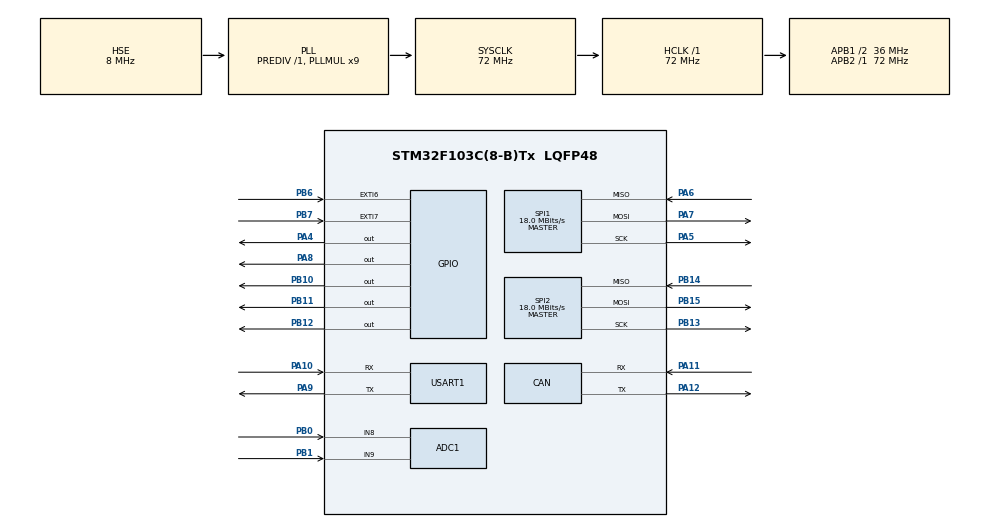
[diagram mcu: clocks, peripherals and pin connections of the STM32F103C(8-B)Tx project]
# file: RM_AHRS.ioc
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ADC1.Channel-0\#ChannelRegularConversion=ADC_CHANNEL_8
ADC1.ContinuousConvMode=DISABLE
ADC1.DataAlign=ADC_DATAALIGN_RIGHT
ADC1.DiscontinuousConvMode=DISABLE
ADC1.EnableAnalogWatchDog=false
ADC1.EnableRegularConversion=ENABLE
ADC1.ExternalTrigConv=ADC_SOFTWARE_START
ADC1.InjNumberOfConversion=0
ADC1.NbrOfConversion=1
ADC1.NbrOfConversionFlag=1
ADC1.Rank-0\#ChannelRegularConversion=1
ADC1.SamplingTime-0\#ChannelRegularConversion=ADC_SAMPLETIME_1CYCLE_5
ADC1.ScanConvMode=ADC_SCAN_DISABLE
ADC1.master=1
CAN.CalculateTimeBit=1333
CAN.CalculateTimeQuantum=444.44444444444446
Dma.Request0=USART1_TX
Dma.Request1=SPI1_TX
Dma.SPI1_TX.1.Direction=DMA_MEMORY_TO_PERIPH
Dma.SPI1_TX.1.Instance=DMA1_Channel3
Dma.SPI1_TX.1.MemDataAlignment=DMA_MDATAALIGN_BYTE
Dma.SPI1_TX.1.MemInc=DMA_MINC_ENABLE
Dma.SPI1_TX.1.Mode=DMA_NORMAL
Dma.SPI1_TX.1.PeriphDataAlignment=DMA_PDATAALIGN_BYTE
Dma.SPI1_TX.1.PeriphInc=DMA_PINC_DISABLE
Dma.SPI1_TX.1.Priority=DMA_PRIORITY_LOW
Dma.USART1_TX.0.Direction=DMA_MEMORY_TO_PERIPH
Dma.USART1_TX.0.Instance=DMA1_Channel4
Dma.USART1_TX.0.MemDataAlignment=DMA_MDATAALIGN_BYTE
Dma.USART1_TX.0.MemInc=DMA_MINC_ENABLE
Dma.USART1_TX.0.Mode=DMA_NORMAL
Dma.USART1_TX.0.PeriphDataAlignment=DMA_PDATAALIGN_BYTE
Dma.USART1_TX.0.PeriphInc=DMA_PINC_DISABLE
Dma.USART1_TX.0.Priority=DMA_PRIORITY_LOW
FREERTOS.Tasks01=defaultTask,0,128,StartDefaultTask,Default,NULL
FREERTOS.configCHECK_FOR_STACK_OVERFLOW=1
FREERTOS.configUSE_IDLE_HOOK=1
FREERTOS.configUSE_MALLOC_FAILED_HOOK=1
FREERTOS.configUSE_TICK_HOOK=1
FREERTOS.configUSE_TIMERS=1
Mcu.Family=STM32F1
Mcu.Name=STM32F103C(8-B)Tx
Mcu.Package=LQFP48
NVIC.CAN1_RX1_IRQn=true\:5\:0\:false\:false\:true\:true\:true
NVIC.DMA1_Channel3_IRQn=true\:5\:0\:false\:false\:true\:true\:false
NVIC.DMA1_Channel4_IRQn=true\:5\:0\:false\:false\:true\:true\:false
NVIC.PriorityGroup=NVIC_PRIORITYGROUP_4
NVIC.TIM1_UP_IRQn=true\:5\:0\:false\:false\:true\:true\:true
NVIC.TIM2_IRQn=true\:5\:0\:false\:false\:true\:true\:true
NVIC.TIM3_IRQn=true\:0\:0\:false\:false\:true\:false\:false
NVIC.TimeBase=TIM3_IRQn
NVIC.TimeBaseIP=TIM3
NVIC.USART1_IRQn=true\:5\:0\:false\:false\:true\:true\:true
NVIC.USB_LP_CAN1_RX0_IRQn=true\:5\:0\:false\:false\:true\:true\:true
PA10.Mode=Asynchronous
PA10.Signal=USART1_RX
PA11.Mode=Master
PA11.Signal=CAN_RX
PA12.Mode=Master
PA12.Signal=CAN_TX
PA13.Mode=Serial_Wire
PA13.Signal=SYS_JTMS-SWDIO
PA14.Mode=Serial_Wire
PA14.Signal=SYS_JTCK-SWCLK
PA4.Signal=GPIO_Output
PA5.Mode=Full_Duplex_Master
PA5.Signal=SPI1_SCK
PA6.Mode=Full_Duplex_Master
PA6.Signal=SPI1_MISO
PA7.Mode=Full_Duplex_Master
PA7.Signal=SPI1_MOSI
PA8.Signal=GPIO_Output
PA9.Mode=Asynchronous
PA9.Signal=USART1_TX
PB0.Signal=ADCx_IN8
PB1.Signal=ADCx_IN9
PB10.Signal=GPIO_Output
PB11.Signal=GPIO_Output
PB12.Signal=GPIO_Output
PB13.Mode=Full_Duplex_Master
PB13.Signal=SPI2_SCK
PB14.Mode=Full_Duplex_Master
PB14.Signal=SPI2_MISO
PB15.Mode=Full_Duplex_Master
PB15.Signal=SPI2_MOSI
PB6.Signal=GPXTI6
PB7.Signal=GPXTI7
PD0-OSC_IN.Mode=HSE-External-Oscillator
PD0-OSC_IN.Signal=RCC_OSC_IN
PD1-OSC_OUT.Mode=HSE-External-Oscillator
PD1-OSC_OUT.Signal=RCC_OSC_OUT
ProjectManager.HeapSize=0x200
ProjectManager.StackSize=0x400
ProjectManager.TargetToolchain=MDK-ARM V5
RCC.ADCPresc=RCC_ADCPCLK2_DIV6
RCC.AHBFreq_Value=72000000
RCC.APB1CLKDivider=RCC_HCLK_DIV2
RCC.APB1Freq_Value=36000000
RCC.APB1TimFreq_Value=72000000
RCC.APB2Freq_Value=72000000
RCC.APB2TimFreq_Value=72000000
RCC.HCLKFreq_Value=72000000
RCC.PLLMUL=RCC_PLL_MUL9
RCC.PLLSourceVirtual=RCC_PLLSOURCE_HSE
RCC.SYSCLKFreq_VALUE=72000000
RCC.SYSCLKSource=RCC_SYSCLKSOURCE_PLLCLK
RCC.USBFreq_Value=72000000
SH.ADCx_IN8.0=ADC1_IN8,IN8
SH.ADCx_IN9.0=ADC1_IN9,IN9
SPI1.BaudRatePrescaler=SPI_BAUDRATEPRESCALER_4
SPI1.CalculateBaudRate=18.0 MBits/s
SPI1.Direction=SPI_DIRECTION_2LINES
SPI1.Mode=SPI_MODE_MASTER
SPI1.VirtualType=VM_MASTER
SPI2.CalculateBaudRate=18.0 MBits/s
SPI2.Direction=SPI_DIRECTION_2LINES
SPI2.Mode=SPI_MODE_MASTER
SPI2.VirtualType=VM_MASTER
USART1.VirtualMode=VM_ASYNC
VP_CRC_VS_CRC.Mode=CRC_Activate
VP_FREERTOS_VS_ENABLE.Mode=Enabled
VP_SYS_VS_tim3.Mode=TIM3
VP_TIM1_VS_ClockSourceINT.Mode=Internal
VP_TIM2_VS_ClockSourceINT.Mode=Internal
board=RM_AHRS

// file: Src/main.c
/**
  ******************************************************************************
  * @file           : main.c
  * @brief          : Main program body
  ******************************************************************************
  * This notice applies to any and all portions of this file
  * that are not between comment pairs USER CODE BEGIN and
  * USER CODE END. Other portions of this file, whether
  * inserted by the user or by software development tools
  * are owned by their respective copyright owners.
  *
  * Copyright (c) 2018 STMicroelectronics International N.V.
  * All rights reserved.
  *
  * Redistribution and use in source and binary forms, with or without
  * modification, are permitted, provided that the following conditions are met:
  *
  * 1. Redistribution of source code must retain the above copyright notice,
  *    this list of conditions and the following disclaimer.
  * 2. Redistributions in binary form must reproduce the above copyright notice,
  *    this list of conditions and the following disclaimer in the documentation
  *    and/or other materials provided with the distribution.
  * 3. Neither the name of STMicroelectronics nor the names of other
  *    contributors to this software may be used to endorse or promote products
  *    derived from this software without specific written permission.
  * 4. This software, including modifications and/or derivative works of this
  *    software, must execute solely and exclusively on microcontroller or
  *    microprocessor devices manufactured by or for STMicroelectronics.
  * 5. Redistribution and use of this software other than as permitted under
  *    this license is void and will automatically terminate your rights under
  *    this license.
  *
  * THIS SOFTWARE IS PROVIDED BY STMICROELECTRONICS AND CONTRIBUTORS "AS IS"
  * AND ANY EXPRESS, IMPLIED OR STATUTORY WARRANTIES, INCLUDING, BUT NOT
  * LIMITED TO, THE IMPLIED WARRANTIES OF MERCHANTABILITY, FITNESS FOR A
  * PARTICULAR PURPOSE AND NON-INFRINGEMENT OF THIRD PARTY INTELLECTUAL PROPERTY
  * RIGHTS ARE DISCLAIMED TO THE FULLEST EXTENT PERMITTED BY LAW. IN NO EVENT
  * SHALL STMICROELECTRONICS OR CONTRIBUTORS BE LIABLE FOR ANY DIRECT, INDIRECT,
  * INCIDENTAL, SPECIAL, EXEMPLARY, OR CONSEQUENTIAL DAMAGES (INCLUDING, BUT NOT
  * LIMITED TO, PROCUREMENT OF SUBSTITUTE GOODS OR SERVICES; LOSS OF USE, DATA,
  * OR PROFITS; OR BUSINESS INTERRUPTION) HOWEVER CAUSED AND ON ANY THEORY OF
  * LIABILITY, WHETHER IN CONTRACT, STRICT LIABILITY, OR TORT (INCLUDING
  * NEGLIGENCE OR OTHERWISE) ARISING IN ANY WAY OUT OF THE USE OF THIS SOFTWARE,
  * EVEN IF ADVISED OF THE POSSIBILITY OF SUCH DAMAGE.
  *
  ******************************************************************************
  */
#include "main.h"
#include "stm32f1xx_hal.h"
#include "cmsis_os.h"
#include "adc.h"
#include "can.h"
#include "crc.h"
#include "dma.h"
#include "spi.h"
#include "tim.h"
#include "usart.h"
#include "gpio.h"
#include "ahrs.h"

/* USER CODE BEGIN PV */
/* Private variables ---------------------------------------------------------*/

/* USER CODE END PV */

void SystemClock_Config(void);
void MX_FREERTOS_Init(void);

/* USER CODE BEGIN PFP */
/* Private function prototypes -----------------------------------------------*/

/* USER CODE END PFP */

int main(void)
{

  /* MCU Configuration----------------------------------------------------------*/

  /* Reset of all peripherals, Initializes the Flash interface and the Systick. */
  HAL_Init();

  /* Configure the system clock */
  SystemClock_Config();

  /* Initialize all configured peripherals */
  MX_GPIO_Init();
  MX_DMA_Init();
  MX_CAN_Init();
  MX_SPI1_Init();
  MX_USART1_UART_Init();
  MX_SPI2_Init();
  MX_ADC1_Init();
  MX_TIM2_Init();
  MX_TIM1_Init();
  MX_CRC_Init();
  /* USER CODE BEGIN 2 */

   printf("init procedure completed  \r\n");

    /* USER CODE END 2 */

  /* Call init function for freertos objects (in freertos.c) */
  MX_FREERTOS_Init();
   HAL_TIM_Base_Start_IT(&htim1);
   HAL_TIM_Base_Start(&htim2);

  /* Start scheduler */
  osKernelStart();

  /* We should never get here as control is now taken by the scheduler */

  /* Infinite loop */
  while (1)
  {

  }

}

void SystemClock_Config(void)
{

  RCC_OscInitTypeDef RCC_OscInitStruct;
  RCC_ClkInitTypeDef RCC_ClkInitStruct;
  RCC_PeriphCLKInitTypeDef PeriphClkInit;

    /**Initializes the CPU, AHB and APB busses clocks
    */
  RCC_OscInitStruct.OscillatorType = RCC_OSCILLATORTYPE_HSE;
  RCC_OscInitStruct.HSEState = RCC_HSE_ON;
  RCC_OscInitStruct.HSEPredivValue = RCC_HSE_PREDIV_DIV1;
  RCC_OscInitStruct.HSIState = RCC_HSI_ON;
  RCC_OscInitStruct.PLL.PLLState = RCC_PLL_ON;
  RCC_OscInitStruct.PLL.PLLSource = RCC_PLLSOURCE_HSE;
  RCC_OscInitStruct.PLL.PLLMUL = RCC_PLL_MUL9;
  if (HAL_RCC_OscConfig(&RCC_OscInitStruct) != HAL_OK)
  {
    _Error_Handler(__FILE__, __LINE__);
  }

    /**Initializes the CPU, AHB and APB busses clocks
    */
  RCC_ClkInitStruct.ClockType = RCC_CLOCKTYPE_HCLK|RCC_CLOCKTYPE_SYSCLK
                              |RCC_CLOCKTYPE_PCLK1|RCC_CLOCKTYPE_PCLK2;
  RCC_ClkInitStruct.SYSCLKSource = RCC_SYSCLKSOURCE_PLLCLK;
  RCC_ClkInitStruct.AHBCLKDivider = RCC_SYSCLK_DIV1;
  RCC_ClkInitStruct.APB1CLKDivider = RCC_HCLK_DIV2;
  RCC_ClkInitStruct.APB2CLKDivider = RCC_HCLK_DIV1;

  if (HAL_RCC_ClockConfig(&RCC_ClkInitStruct, FLASH_LATENCY_2) != HAL_OK)
  {
    _Error_Handler(__FILE__, __LINE__);
  }

  PeriphClkInit.PeriphClockSelection = RCC_PERIPHCLK_ADC;
  PeriphClkInit.AdcClockSelection = RCC_ADCPCLK2_DIV6;
  if (HAL_RCCEx_PeriphCLKConfig(&PeriphClkInit) != HAL_OK)
  {
    _Error_Handler(__FILE__, __LINE__);
  }

    /**Configure the Systick interrupt time
    */
  HAL_SYSTICK_Config(HAL_RCC_GetHCLKFreq()/1000);

    /**Configure the Systick
    */
  HAL_SYSTICK_CLKSourceConfig(SYSTICK_CLKSOURCE_HCLK);

  /* SysTick_IRQn interrupt configuration */
  HAL_NVIC_SetPriority(SysTick_IRQn, 15, 0);
}

void HAL_TIM_PeriodElapsedCallback(TIM_HandleTypeDef *htim)
{
  /* USER CODE BEGIN Callback 0 */
    static BaseType_t AhrsTaskWoken = pdFALSE;
  /* USER CODE END Callback 0 */
  if (htim->Instance == TIM3) {
    HAL_IncTick();
  }

  if(htim->Instance == TIM1)
  {
//      HAL_GPIO_TogglePin(GPIOB, GPIO_PIN_11);

      /* The event has occurred, use the semaphore to unblock the task so the task
      can process the event. */
      xSemaphoreGiveFromISR( ahrs_sem ,  &AhrsTaskWoken );
       portYIELD_FROM_ISR( AhrsTaskWoken );
  }
}

void _Error_Handler(char *file, int line)
{
  while(1)
  {
  }
}

/************************ (C) COPYRIGHT STMicroelectronics *****END OF FILE****/

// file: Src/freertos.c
/**
  ******************************************************************************
  * File Name          : freertos.c
  * Description        : Code for freertos applications
  ******************************************************************************
  * This notice applies to any and all portions of this file
  * that are not between comment pairs USER CODE BEGIN and
  * USER CODE END. Other portions of this file, whether
  * inserted by the user or by software development tools
  * are owned by their respective copyright owners.
  *
  * Copyright (c) 2018 STMicroelectronics International N.V.
  * All rights reserved.
  *
  * Redistribution and use in source and binary forms, with or without
  * modification, are permitted, provided that the following conditions are met:
  *
  * 1. Redistribution of source code must retain the above copyright notice,
  *    this list of conditions and the following disclaimer.
  * 2. Redistributions in binary form must reproduce the above copyright notice,
  *    this list of conditions and the following disclaimer in the documentation
  *    and/or other materials provided with the distribution.
  * 3. Neither the name of STMicroelectronics nor the names of other
  *    contributors to this software may be used to endorse or promote products
  *    derived from this software without specific written permission.
  * 4. This software, including modifications and/or derivative works of this
  *    software, must execute solely and exclusively on microcontroller or
  *    microprocessor devices manufactured by or for STMicroelectronics.
  * 5. Redistribution and use of this software other than as permitted under
  *    this license is void and will automatically terminate your rights under
  *    this license.
  *
  * THIS SOFTWARE IS PROVIDED BY STMICROELECTRONICS AND CONTRIBUTORS "AS IS"
  * AND ANY EXPRESS, IMPLIED OR STATUTORY WARRANTIES, INCLUDING, BUT NOT
  * LIMITED TO, THE IMPLIED WARRANTIES OF MERCHANTABILITY, FITNESS FOR A
  * PARTICULAR PURPOSE AND NON-INFRINGEMENT OF THIRD PARTY INTELLECTUAL PROPERTY
  * RIGHTS ARE DISCLAIMED TO THE FULLEST EXTENT PERMITTED BY LAW. IN NO EVENT
  * SHALL STMICROELECTRONICS OR CONTRIBUTORS BE LIABLE FOR ANY DIRECT, INDIRECT,
  * INCIDENTAL, SPECIAL, EXEMPLARY, OR CONSEQUENTIAL DAMAGES (INCLUDING, BUT NOT
  * LIMITED TO, PROCUREMENT OF SUBSTITUTE GOODS OR SERVICES; LOSS OF USE, DATA,
  * OR PROFITS; OR BUSINESS INTERRUPTION) HOWEVER CAUSED AND ON ANY THEORY OF
  * LIABILITY, WHETHER IN CONTRACT, STRICT LIABILITY, OR TORT (INCLUDING
  * NEGLIGENCE OR OTHERWISE) ARISING IN ANY WAY OUT OF THE USE OF THIS SOFTWARE,
  * EVEN IF ADVISED OF THE POSSIBILITY OF SUCH DAMAGE.
  *
  ******************************************************************************
  */

#include "FreeRTOS.h"
#include "task.h"
#include "cmsis_os.h"
#include "stm32f1xx_hal.h"
#include "spi.h"
#include "icm_20602.h"
#include "ahrs.h"
#include "uc_memory.h"

osThreadId defaultTaskHandle;

/* USER CODE BEGIN Variables */
uint64_t idle_counter, free_heap_size;

/* USER CODE END Variables */

void StartDefaultTask(void const * argument);

void MX_FREERTOS_Init(void); /* (MISRA C 2004 rule 8.1) */

/* Hook prototypes */
void vApplicationIdleHook(void);
void vApplicationTickHook(void);
void vApplicationStackOverflowHook(xTaskHandle xTask, signed char *pcTaskName);
void vApplicationMallocFailedHook(void);

/* USER CODE BEGIN 2 */
 void vApplicationIdleHook( void )
{
   /* vApplicationIdleHook() will only be called if configUSE_IDLE_HOOK is set
   to 1 in FreeRTOSConfig.h. It will be called on each iteration of the idle
   task. It is essential that code added to this hook function never attempts
   to block in any way (for example, call xQueueReceive() with a block time
   specified, or call vTaskDelay()). If the application makes use of the
   vTaskDelete() API function (as this demo application does) then it is also
   important that vApplicationIdleHook() is permitted to return to its calling
   function, because it is the responsibility of the idle task to clean up
   memory allocated by the kernel to any task that has since been deleted. */
     free_heap_size = xPortGetFreeHeapSize();

     idle_counter ++;
}
/* USER CODE END 2 */

/* USER CODE BEGIN 3 */
void vApplicationTickHook( void )
{
   /* This function will be called by each tick interrupt if
   configUSE_TICK_HOOK is set to 1 in FreeRTOSConfig.h. User code can be
   added here, but the tick hook is called from an interrupt context, so
   code must not attempt to block, and only the interrupt safe FreeRTOS API
   functions can be used (those that end in FromISR()). */
}
/* USER CODE END 3 */

/* USER CODE BEGIN 4 */
 void vApplicationStackOverflowHook(xTaskHandle xTask, signed char *pcTaskName)
{
   /* Run time stack overflow checking is performed if
   configCHECK_FOR_STACK_OVERFLOW is defined to 1 or 2. This hook function is
   called if a stack overflow is detected. */
     for(;;)
     {
         printf("fatal error :  Application Stack Overflow !!!\r\n");
     }
}
/* USER CODE END 4 */

/* USER CODE BEGIN 5 */
 void vApplicationMallocFailedHook(void)
{
   /* vApplicationMallocFailedHook() will only be called if
   configUSE_MALLOC_FAILED_HOOK is set to 1 in FreeRTOSConfig.h. It is a hook
   function that will get called if a call to pvPortMalloc() fails.
   pvPortMalloc() is called internally by the kernel whenever a task, queue,
   timer or semaphore is created. It is also called by various parts of the
   demo application. If heap_1.c or heap_2.c are used, then the size of the
   heap available to pvPortMalloc() is defined by configTOTAL_HEAP_SIZE in
   FreeRTOSConfig.h, and the xPortGetFreeHeapSize() API function can be used
   to query the size of free heap space that remains (although it does not
   provide information on how the remaining heap might be fragmented). */
     for(;;)
     {
         printf("fatal error :  Application Malloc Failed !!!\r\n");
     }
}
/* USER CODE END 5 */

/* Init FreeRTOS */

void MX_FREERTOS_Init(void) {

  /* Create the thread(s) */
  /* definition and creation of defaultTask */

    AhrsTaskCreate();

    osThreadDef(defaultTask, StartDefaultTask, 4, 0, 512);
  defaultTaskHandle = osThreadCreate(osThread(defaultTask), NULL);

  /* USER CODE BEGIN RTOS_THREADS */
  /* add threads, ... */
    if(HAL_GPIO_ReadPin(GPIOB, GPIO_PIN_0) == GPIO_PIN_SET)
        Can_ID |=0x02;
    if(HAL_GPIO_ReadPin(GPIOB, GPIO_PIN_1) == GPIO_PIN_SET)
        Can_ID |=0x01;
    // blink led to display the can id
    for(int n =0; Can_ID+1 > n; n++){
        HAL_GPIO_WritePin(GPIOB,GPIO_PIN_11, GPIO_PIN_RESET);
        HAL_Delay(500);
        HAL_GPIO_WritePin(GPIOB,GPIO_PIN_11, GPIO_PIN_SET);
        HAL_Delay(500);
    }
    Can_ID = 100 + Can_ID*10;
  initlize_icm();

  /* USER CODE END RTOS_THREADS */

}

/* StartDefaultTask function */
void StartDefaultTask(void const * argument)
{

//    xTaskResumeAll();

  /* Infinite loop */
  for(;;)
  {

      switch (mode) {
      case 0x10:
          for(int i = 0; i < 2 ; i++){
              HAL_GPIO_TogglePin(GPIOB, GPIO_PIN_10);
              vTaskDelay(150);
              HAL_GPIO_TogglePin(GPIOB, GPIO_PIN_10);
              vTaskDelay(150);
          }
          break;
      case 0x20:
          for(int i = 0; i < 4 ; i++){
              HAL_GPIO_TogglePin(GPIOB, GPIO_PIN_10);
              vTaskDelay(150);
              HAL_GPIO_TogglePin(GPIOB, GPIO_PIN_10);
              vTaskDelay(150);
          }
          break;
      default:
          break;
      }
    HAL_GPIO_WritePin(GPIOB, GPIO_PIN_10, GPIO_PIN_SET);

//    HAL_GPIO_TogglePin(GPIOB, GPIO_PIN_10);
//     xSemaphoreGive( ahrs_sem  );
    printf("pit=%f rol=%f yaw=%f \r\n",EulerAngle.pitch*57.3, EulerAngle.roll*57.3, EulerAngle.yaw*57.3);
//   printf("pi");
    vTaskDelay(500);
  }

}

/************************ (C) COPYRIGHT STMicroelectronics *****END OF FILE****/
